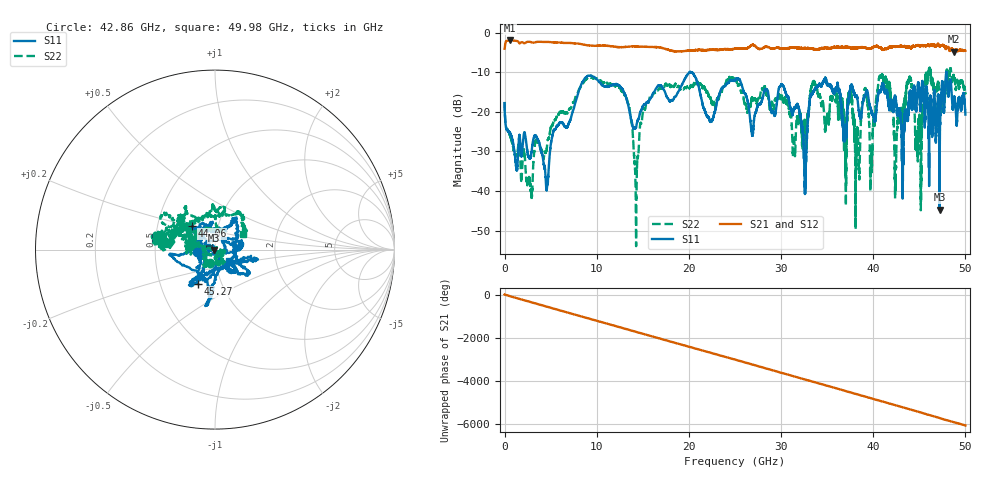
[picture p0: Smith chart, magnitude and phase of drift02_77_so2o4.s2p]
!Created with skrf (http://scikit-rf.org).
# Hz S RI R 50.0
!freq ReS11 ImS11 ReS21 ImS21 ReS12 ImS12 ReS22 ImS22
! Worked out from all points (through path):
!   10001 points, 300 kHz to 50 GHz, reference 50 ohm
!   highest |S21| = -1.99 dB at 580.3 MHz (marker M1); lowest = -4.8 dB at 48.77 GHz (marker M2)
!   group delay of S21, straight-line fit = 337 ps
!   lowest |S11| = -44.7 dB at 47.2 GHz (marker M3), VSWR 1.01, Z = 49.4 - j0.151 ohm
!   |S11| at or under -10 dB: start of sweep to 20.07 GHz; 20.24 GHz to 47.91 GHz (27.67 GHz wide, 81.2 % of centre); 47.92 GHz to end of sweep (the widest 3 of 7)
!   |S22| runs from -53.9 to -8.9 dB; largest |S21 - S12| = 0.034
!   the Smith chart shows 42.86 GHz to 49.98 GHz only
!   S11 on the Smith chart (normalised r, x): 42.86 GHz: 0.82, -0.02; 44.06 GHz: 0.75, +0.20; 45.27 GHz: 0.77, -0.31; 49.98 GHz: 1.16, -0.15
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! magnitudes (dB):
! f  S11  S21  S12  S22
! 300 kHz  -17.8  -4.1  -4.0  -17.5
! 580.3 MHz  -25.3  -2.0  -2.0  -26.0
! 4.565 GHz  -39.7  -2.4  -2.4  -29.4
! 8.335 GHz  -13.0  -2.9  -2.9  -13.2
! 13.01 GHz  -15.3  -3.6  -3.6  -15.8
! 14.28 GHz  -23.8  -3.5  -3.5  -48.0
! 16.67 GHz  -13.3  -3.7  -3.7  -14.5
! 25 GHz  -12.1  -4.1  -4.1  -12.2
! 26.86 GHz  -25.8  -3.1  -3.1  -16.4
! 30.19 GHz  -13.4  -4.1  -4.1  -17.0
! 32.58 GHz  -38.8  -4.0  -3.9  -25.1
! 33.34 GHz  -15.7  -4.0  -4.0  -13.6
! 37.48 GHz  -14.5  -3.8  -3.8  -16.3
! 38.29 GHz  -16.8  -3.9  -3.8  -24.2
! 41.67 GHz  -18.4  -3.8  -3.9  -12.5
! 42.86 GHz  -20.0  -3.5  -3.5  -22.2
! 44.06 GHz  -14.6  -3.9  -3.8  -11.6
! 45.27 GHz  -13.4  -3.3  -3.2  -22.3
! 47.2 GHz  -44.7  -3.4  -3.4  -16.5
! 48.77 GHz  -16.8  -4.8  -4.8  -10.8
! 49.98 GHz  -19.9  -4.6  -4.5  -15.0
! 50 GHz  -20.7  -4.6  -4.5  -15.2
